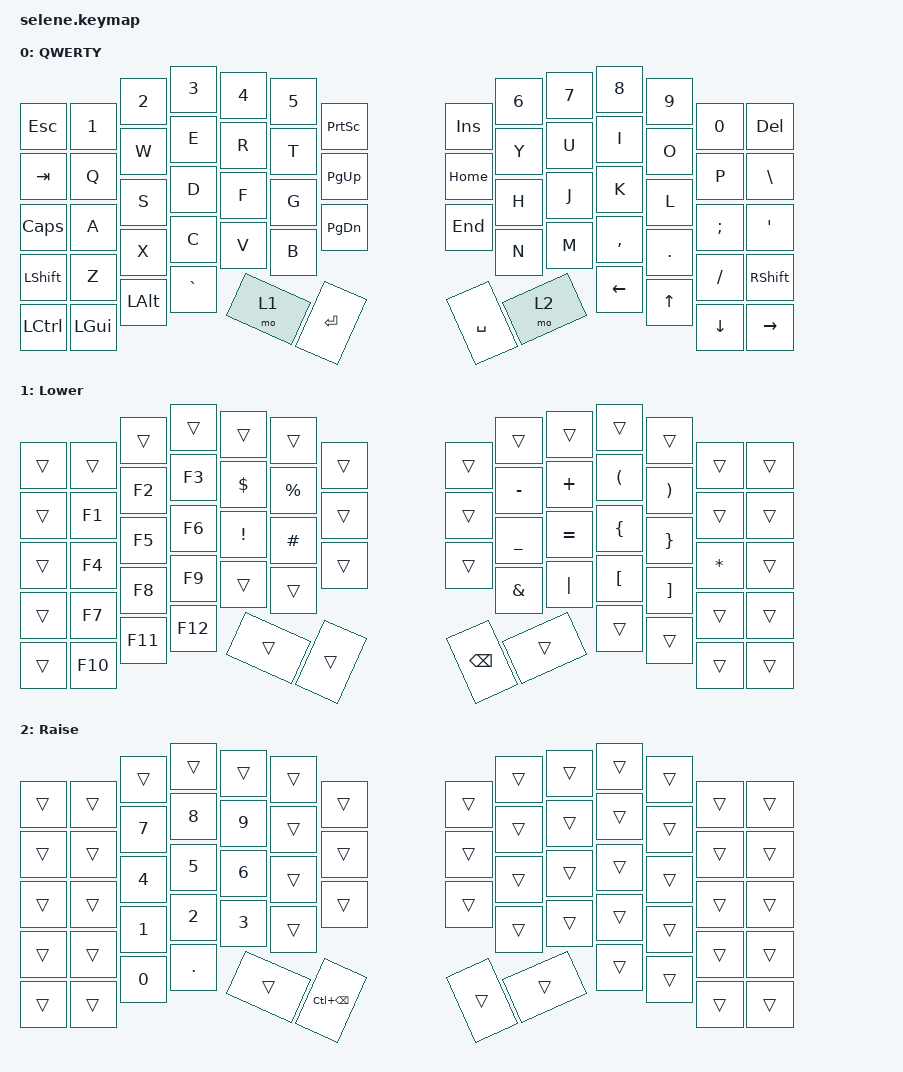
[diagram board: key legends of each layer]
#include <behaviors.dtsi>
#include <dt-bindings/zmk/keys.h>

/ {
    keymap {
        compatible = "zmk,keymap";

        QWERTY {
            bindings = <
&kp ESC    &kp N1    &kp N2    &kp N3     &kp N4  &kp N5  &kp PRINTSCREEN  &kp INSERT  &kp N6  &kp N7  &kp N8     &kp N9   &kp N0    &kp DEL
&kp TAB    &kp Q     &kp W     &kp E      &kp R   &kp T   &kp PG_UP        &kp HOME    &kp Y   &kp U   &kp I      &kp O    &kp P     &kp BSLH
&kp CAPS   &kp A     &kp S     &kp D      &kp F   &kp G   &kp PG_DN        &kp END     &kp H   &kp J   &kp K      &kp L    &kp SEMI  &kp SQT
&kp LSHFT  &kp Z     &kp X     &kp C      &kp V   &kp B                                &kp N   &kp M   &kp COMMA  &kp DOT  &kp FSLH  &kp RSHFT
&kp LCTRL  &kp LGUI  &kp LALT  &kp GRAVE          &mo 1   &kp ENTER        &kp SPACE   &mo 2           &kp LEFT   &kp UP   &kp DOWN  &kp RIGHT
            >;
        };

        Lower {
            bindings = <
&trans  &trans   &trans   &trans   &trans      &trans       &trans  &trans    &trans          &trans     &trans                &trans                 &trans        &trans
&trans  &kp F1   &kp F2   &kp F3   &kp DOLLAR  &kp PERCENT  &trans  &trans    &kp MINUS       &kp PLUS   &kp LEFT_PARENTHESIS  &kp RIGHT_PARENTHESIS  &trans        &trans
&trans  &kp F4   &kp F5   &kp F6   &kp EXCL    &kp POUND    &trans  &trans    &kp UNDERSCORE  &kp EQUAL  &kp LEFT_BRACE        &kp RIGHT_BRACE        &kp ASTERISK  &trans
&trans  &kp F7   &kp F8   &kp F9   &trans      &trans                         &kp AMPERSAND   &kp PIPE   &kp LEFT_BRACKET      &kp RIGHT_BRACKET      &trans        &trans
&trans  &kp F10  &kp F11  &kp F12              &trans       &trans  &kp BSPC  &trans                     &trans                &trans                 &trans        &trans
            >;
        };

        Raise {
            bindings = <
&trans  &trans  &trans  &trans   &trans  &trans  &trans             &trans  &trans  &trans  &trans  &trans  &trans  &trans
&trans  &trans  &kp N7  &kp N8   &kp N9  &trans  &trans             &trans  &trans  &trans  &trans  &trans  &trans  &trans
&trans  &trans  &kp N4  &kp N5   &kp N6  &trans  &trans             &trans  &trans  &trans  &trans  &trans  &trans  &trans
&trans  &trans  &kp N1  &kp N2   &kp N3  &trans                             &trans  &trans  &trans  &trans  &trans  &trans
&trans  &trans  &kp N0  &kp DOT          &trans  &kp LC(BACKSPACE)  &trans  &trans          &trans  &trans  &trans  &trans
            >;
        };
    };
};
